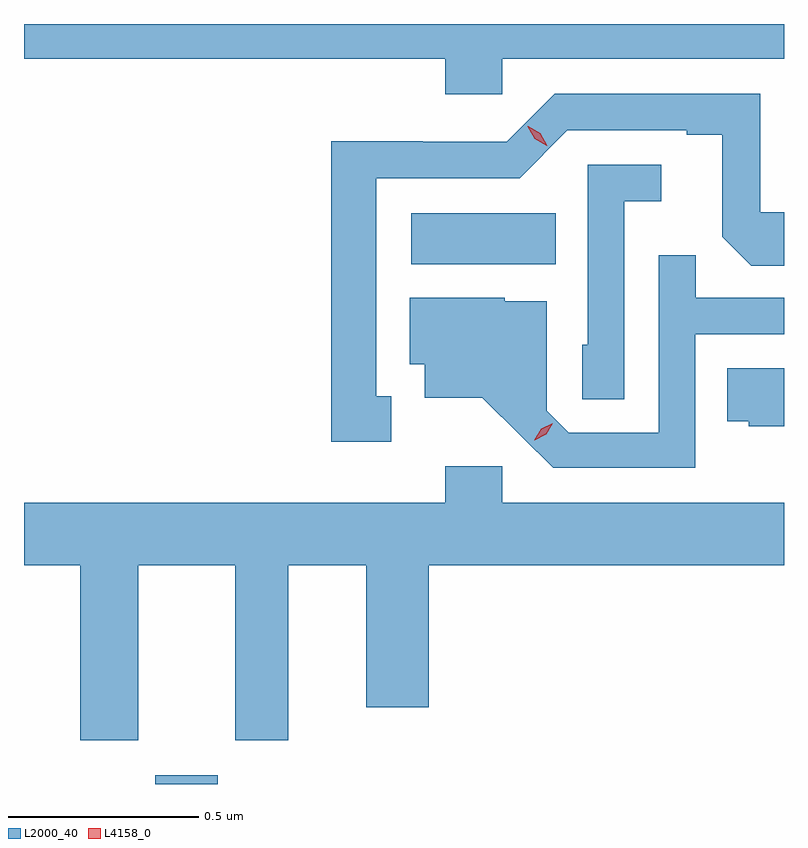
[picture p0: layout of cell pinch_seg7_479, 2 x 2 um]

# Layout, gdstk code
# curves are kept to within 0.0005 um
import gdstk
lib = gdstk.Library(unit=1e-6, precision=1e-09)
def R(c, l, rs):  # rectangles x0, y0, x1, y1
    for r in rs: c.add(gdstk.rectangle(r[:2], r[2:], *l))
def P(c, l, *ps):  # polygons
    for p in ps: c.add(gdstk.Polygon(p, *l))
L2000_40 = (2000, 40)
L4158_0 = (4158, 0)

pinch_seg7_479 = lib.new_cell('pinch_seg7_479')
R(pinch_seg7_479, L2000_40, [(176.441,1067.972,176.605,1067.995), (177.114,1069.34,177.494,1069.474)])
P(pinch_seg7_479, L2000_40, [(177.354,1069.88),(178.095,1069.88),(178.095,1069.972),(176.095,1069.972),(176.095,1069.88),(177.203,1069.88),(177.203,1069.787),(177.354,1069.787)],
  [(177.061,1068.993),(177.022,1068.993),(177.022,1069.566),(177.399,1069.566),(177.525,1069.692),(177.839,1069.692),(177.839,1069.68),(177.933,1069.68),(177.933,1069.412),(178.009,1069.336),(178.095,1069.336),(178.095,1069.476),(178.032,1069.476),(178.032,1069.788),(177.492,1069.788),(177.366,1069.662),(177.144,1069.662),(177.144,1069.664),(176.904,1069.664),(176.904,1068.873),(177.061,1068.873)],
  [(177.675,1069.505),(177.772,1069.505),(177.772,1069.602),(177.579,1069.602),(177.579,1069.128),(177.564,1069.128),(177.564,1068.985),(177.675,1068.985)],
  [(177.861,1069.155),(178.095,1069.155),(178.095,1069.251),(177.863,1069.251),(177.863,1069.364),(177.765,1069.364),(177.765,1068.897),(177.528,1068.897),(177.471,1068.954),(177.471,1069.243),(177.36,1069.243),(177.36,1069.252),(177.11,1069.252),(177.11,1069.076),(177.149,1069.076),(177.149,1068.989),(177.301,1068.989),(177.488,1068.804),(177.861,1068.804)],
  [(178.095,1069.066),(177.946,1069.066),(177.946,1068.926),(178.002,1068.926),(178.002,1068.914),(178.095,1068.914)],
  [(176.395,1068.548),(176.651,1068.548),(176.651,1068.087),(176.791,1068.087),(176.791,1068.548),(176.996,1068.548),(176.996,1068.174),(177.16,1068.174),(177.16,1068.548),(178.095,1068.548),(178.095,1068.712),(177.354,1068.712),(177.354,1068.808),(177.203,1068.808),(177.203,1068.712),(176.095,1068.712),(176.095,1068.548),(176.243,1068.548),(176.243,1068.087),(176.395,1068.087)])
P(pinch_seg7_479, L4158_0, [(177.438,1068.877),(177.438,1068.877),(177.456,1068.907),(177.486,1068.922),(177.486,1068.922),(177.486,1068.922),(177.469,1068.892),(177.439,1068.877)],
  [(177.471,1069.652),(177.439,1069.67),(177.421,1069.702),(177.421,1069.703),(177.422,1069.703),(177.454,1069.684),(177.472,1069.652),(177.472,1069.652)])

lib.write_gds('pinch_seg7_479.gds')
